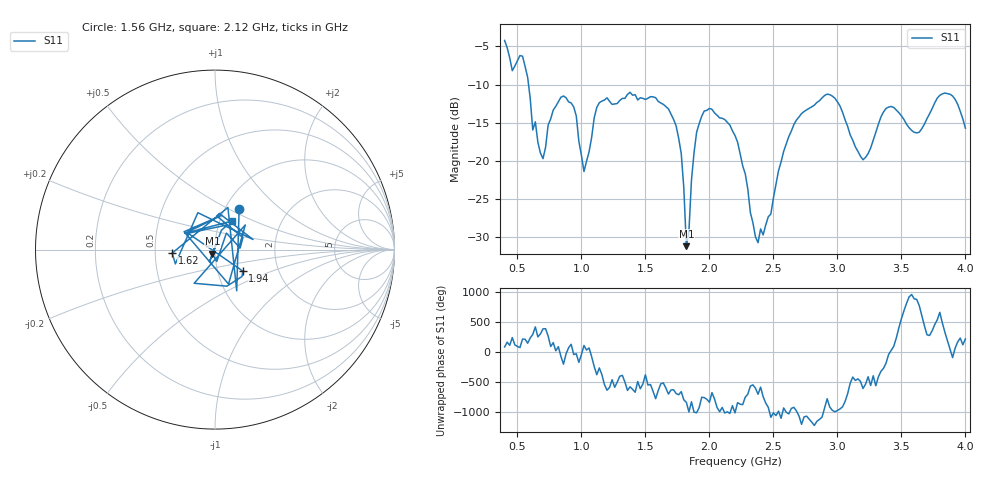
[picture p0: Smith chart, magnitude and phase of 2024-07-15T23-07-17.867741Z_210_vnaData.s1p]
!Created with skrf (http://scikit-rf.org).
# Hz S RI R 50.0
!freq ReS11 ImS11
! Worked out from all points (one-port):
!   181 points, 400 MHz to 4 GHz, reference 50 ohm
!   lowest |S11| = -31.2 dB at 1.82 GHz (marker M1), VSWR 1.06, Z = 48.5 - j2.25 ohm
!   |S11| at or under -10 dB: 587 MHz to end of sweep
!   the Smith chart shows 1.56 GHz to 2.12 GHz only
!   S11 on the Smith chart (normalised r, x): 1.56 GHz: 1.16, +0.56; 1.62 GHz: 0.61, -0.03; 1.94 GHz: 1.32, -0.33; 2.12 GHz: 1.15, +0.38
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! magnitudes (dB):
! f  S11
! 400 MHz  -4.2
! 460 MHz  -8.2
! 540 MHz  -6.3
! 620 MHz  -16.0
! 700 MHz  -19.7
! 860 MHz  -11.5
! 960 MHz  -14.1
! 1.02 GHz  -21.4
! 1.12 GHz  -13.0
! 1.3 GHz  -12.1
! 1.56 GHz  -11.6
! 1.62 GHz  -12.4
! 1.76 GHz  -17.0
! 1.8 GHz  -23.5
! 1.82 GHz  -31.2
! 1.88 GHz  -18.9
! 1.94 GHz  -14.1
! 2.12 GHz  -14.6
! 2.2 GHz  -16.7
! 2.38 GHz  -30.7
! 2.66 GHz  -15.2
! 2.92 GHz  -11.3
! 3.1 GHz  -16.6
! 3.2 GHz  -19.9
! 3.38 GHz  -13.1
! 3.56 GHz  -15.6
! 3.84 GHz  -11.1
! 4 GHz  -15.7
